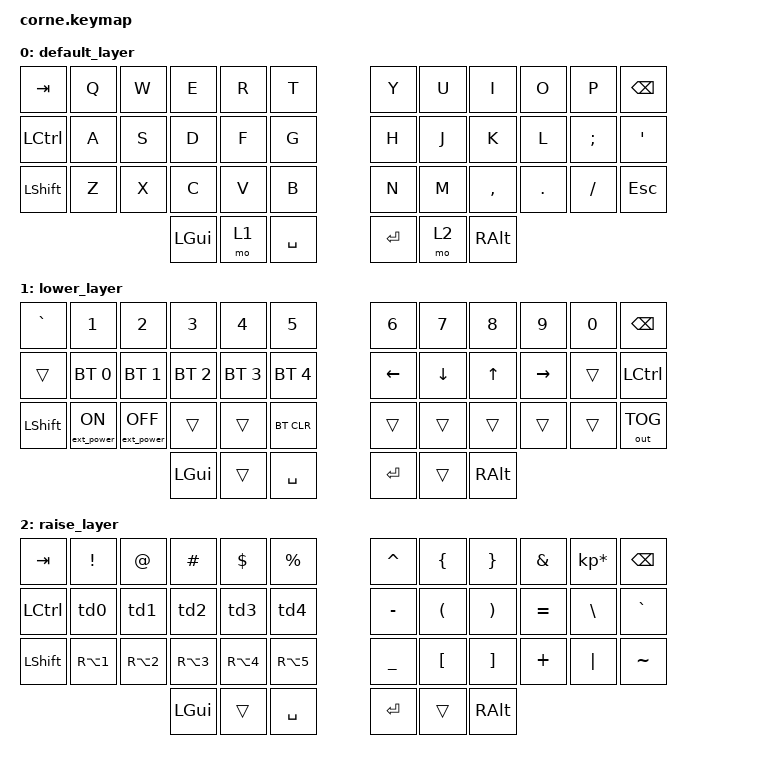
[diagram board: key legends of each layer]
/*
 * Copyright (c) 2020 The ZMK Contributors
 *
 * SPDX-License-Identifier: MIT
 */

#include <behaviors.dtsi>
#include <dt-bindings/zmk/keys.h>
#include <dt-bindings/zmk/bt.h>
#include <dt-bindings/zmk/ext_power.h>
#include <dt-bindings/zmk/outputs.h>

/ {
    behaviors {
        td0: tap_dance_0 {
            compatible = "zmk,behavior-tap-dance";
            #binding-cells = <0>;
            tapping-term-ms = <150>;
            bindings = <&kp LC(N1)>, <&kp LS(LC(N1))>;
        };
        td1: tap_dance_1 {
            compatible = "zmk,behavior-tap-dance";
            #binding-cells = <0>;
            tapping-term-ms = <150>;
            bindings = <&kp LC(N2)>, <&kp LS(LC(N2))>;
        };
        td2: tap_dance_2 {
            compatible = "zmk,behavior-tap-dance";
            #binding-cells = <0>;
            tapping-term-ms = <150>;
            bindings = <&kp LC(N3)>, <&kp LS(LC(N3))>;
        };
        td3: tap_dance_3 {
            compatible = "zmk,behavior-tap-dance";
            #binding-cells = <0>;
            tapping-term-ms = <150>;
            bindings = <&kp LC(N4)>, <&kp LS(LC(N4))>;
        };
        td4: tap_dance_4 {
            compatible = "zmk,behavior-tap-dance";
            #binding-cells = <0>;
            tapping-term-ms = <150>;
            bindings = <&kp LC(N5)>, <&kp LS(LC(N5))>;
        };
    };

    keymap {
      compatible = "zmk,keymap";

                default_layer {
// -----------------------------------------------------------------------------------------
// |  TAB |  Q  |  W  |  E  |  R  |  T  |   |  Y  |  U   |  I  |  O  |  P  | BKSP |
// | CTRL |  A  |  S  |  D  |  F  |  G  |   |  H  |  J   |  K  |  L  |  ;  |  '   |
// | SHFT |  Z  |  X  |  C  |  V  |  B  |   |  N  |  M   |  ,  |  .  |  /  | ESC  |
//                    | GUI | LWR | SPC |   | ENT | RSE  | ALT |
                        bindings = <
   &kp TAB   &kp Q &kp W &kp E &kp R &kp T   &kp Y &kp U  &kp I     &kp O   &kp P    &kp BSPC
   &kp LCTRL &kp A &kp S &kp D &kp F &kp G   &kp H &kp J  &kp K     &kp L   &kp SEMI &kp SQT
   &kp LSHFT &kp Z &kp X &kp C &kp V &kp B   &kp N &kp M  &kp COMMA &kp DOT &kp FSLH &kp ESC
                  &kp LGUI &mo 1 &kp SPACE   &kp RET &mo 2 &kp RALT
                        >;
                };
                lower_layer {
// -----------------------------------------------------------------------------------------
// |  `   |  1  |  2  |  3  |  4  |  5  |   |  6  |  7  |  8  |  9  |  0  | BKSP |
// |      | BT1 | BT2 | BT3 | BT4 | BT5 |   | LFT | DWN |  UP | RGT |     | CTRL |
// | SHFT | ON  | OFF |     |     |BTCLR|   |     |     |     |     |     | BTTG |
//                    | GUI |     | SPC |   | ENT |     | ALT |
                        bindings = <
   &kp GRAVE  &kp N1           &kp N2             &kp N3       &kp N4       &kp N5         &kp N6   &kp N7   &kp N8 &kp N9    &kp N0 &kp BSPC
   &trans     &bt BT_SEL 0     &bt BT_SEL 1       &bt BT_SEL 2 &bt BT_SEL 3 &bt BT_SEL 4   &kp LEFT &kp DOWN &kp UP &kp RIGHT &trans &kp LCTRL
   &kp LSHFT  &ext_power EP_ON &ext_power EP_OFF  &trans       &trans       &bt BT_CLR     &trans   &trans   &trans &trans    &trans &out OUT_TOG
                                                  &kp LGUI     &trans       &kp SPACE      &kp RET  &trans   &kp RALT
                        >;
                };

                raise_layer {
// -----------------------------------------------------------------------------------------
// |  TAB |  !  |  @  |  #  |  $  |  %  |   |  ^  |  {  |  }  |  &  |  *  | BKSP |
// | CTRL | DT1 | DT2 | DT3 | DT4 | DT5 |   |  -  |  (  |  )  |  =  |  \  |  `   |
// | SHFT | MT1 | MT2 | MT3 | MT4 | MT5 |   |  _  |  [  |  ]  |  +  | "|" |  ~   |
//                    | GUI |     | SPC |   | ENT |     | ALT |
                        bindings = <
   &kp  TAB  &kp EXCL       &kp AT         &kp HASH       &kp DLLR       &kp PRCNT        &kp CARET &kp LBRC  &kp RBRC &kp AMPS  &kp KP_MULTIPLY &kp BSPC
   &kp LCTRL &td0           &td1           &td2           &td3           &td4             &kp MINUS &kp LPAR  &kp RPAR &kp EQUAL &kp BSLH        &kp GRAVE
   &kp LSHFT &kp RA(N1)     &kp RA(N2)     &kp RA(N3)     &kp RA(N4)     &kp RA(N5)       &kp UNDER &kp LBKT  &kp RBKT &kp PLUS  &kp PIPE        &kp TILDE
                                           &kp LGUI       &trans         &kp SPACE        &kp RET   &trans    &kp RALT
                        >;
                };
        };
};
